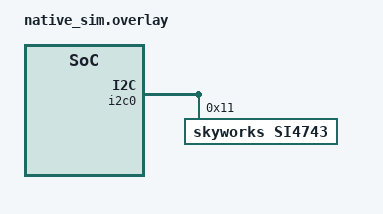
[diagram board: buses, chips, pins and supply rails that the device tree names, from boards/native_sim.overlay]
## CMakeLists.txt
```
cmake_minimum_required(VERSION 3.20.0)

find_package(Zephyr REQUIRED HINTS $ENV{ZEPHYR_BASE})
project(drivers_tuner)

target_sources(app PRIVATE src/main.c src/emul_si4743.c)
```

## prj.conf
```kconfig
CONFIG_ZTEST=y
CONFIG_I2C=y
CONFIG_EMUL=y
CONFIG_WX_DRV_TUNER=y
```

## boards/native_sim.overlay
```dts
/* The tuner on native_sim's emulated I2C bus, SEN low (AN332 6.1: 0x11). */
&i2c0 {
	si4743: si4743@11 {
		compatible = "skyworks,si4743";
		reg = <0x11>;
		status = "okay";
	};
};
```

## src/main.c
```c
/*
 * drivers/tuner_si4743.c against the Si4743 emulator on native_sim's
 * emulated I2C bus: power-up and part check, each band's tune encoding and
 * limits, the seek/tune-complete handshake, seek found and not found,
 * signal status, mute, RDS radio text and every way the chip can fail.
 */

#include <string.h>

#include <zephyr/drivers/i2c.h>
#include <zephyr/ztest.h>

#include "emul_si4743.h"
#include "hal/tuner.h"

static const struct i2c_dt_spec chip = I2C_DT_SPEC_GET(DT_NODELABEL(si4743));

static void before(void *f)
{
	ARG_UNUSED(f);
	emul_si4743_reset();
	(void)hal_tuner_power(false); /* the driver forgets any earlier state */
	zassert_ok(hal_tuner_set_band(HAL_TUNER_BAND_WB));
	zassert_ok(hal_tuner_power(true));
}

ZTEST_SUITE(si4743, NULL, NULL, before, NULL, NULL);

static void assert_last(const uint8_t *want, uint8_t len)
{
	uint8_t n;
	const uint8_t *got = emul_si4743_last(&n);

	zassert_equal(n, len, "command length");
	zassert_mem_equal(got, want, len);
}

/* The status after the tuner has finished the outstanding tune. */
static struct hal_tuner_status settled(void)
{
	struct hal_tuner_status st;

	for (int i = 0; i < 10; i++) {
		zassert_ok(hal_tuner_get_status(&st));
	}
	return st;
}

ZTEST(si4743, test_power_up_in_the_weather_band_and_check_the_part)
{
	zassert_true(emul_si4743_powered());
	zassert_equal(emul_si4743_func(), EMUL_FUNC_WB, "FUNC 3, WB receive");

	emul_si4743_reset();
	emul_si4743_set_part(0x2A); /* an Si4742: no RDS */
	zassert_equal(hal_tuner_power(true), -ENODEV, "not an Si4743");

	emul_si4743_set_part(0x2B);
	zassert_ok(hal_tuner_power(true));
	zassert_ok(hal_tuner_power(false));
	zassert_false(emul_si4743_powered());
}

ZTEST(si4743, test_weather_band_tune_in_2_5_khz_units)
{
	static const uint8_t tune_162550[] = {0x50, 0x00, 0xFD, 0xFC}; /* 65020 */
	struct hal_tuner_status st;

	emul_si4743_add_station(EMUL_FUNC_WB, 65020, 42, 23, false);
	zassert_ok(hal_tuner_tune(162400));
	zassert_equal(emul_si4743_units(), 64960, "162.4 MHz = 64960");
	zassert_ok(hal_tuner_tune(162550));
	assert_last(tune_162550, sizeof(tune_162550));
	zassert_ok(hal_tuner_tune(162550));
	st = settled();
	zassert_true(st.valid);
	zassert_equal(st.freq_khz, 162550);
	zassert_equal(st.rssi_dbuv, 42);
	zassert_equal(st.snr_db, 23);
	zassert_false(st.stereo);
}

ZTEST(si4743, test_tune_returns_before_it_completes)
{
	struct hal_tuner_status st;
	uint8_t n;

	zassert_ok(hal_tuner_tune(162400)); /* the band's first tune also unmutes */
	(void)settled();
	emul_si4743_stc_after(3);
	zassert_ok(hal_tuner_tune(162475));
	zassert_equal(emul_si4743_last(&n)[0], 0x50, "nothing after the tune command");
	zassert_ok(hal_tuner_get_status(&st));
	zassert_equal(st.freq_khz, 162475, "the frequency asked for, meanwhile");
	st = settled();
	zassert_equal(st.freq_khz, 162475, "and the chip's once it completes");
	zassert_ok(hal_tuner_get_status(&st));
	zassert_equal(emul_si4743_last(&n)[0], 0x53, "then only the RSQ status per read");
}

ZTEST(si4743, test_tune_limits_send_nothing)
{
	uint8_t before_len;
	const uint8_t *last = emul_si4743_last(&before_len);
	uint8_t first = last[0];
	uint8_t n;

	zassert_equal(hal_tuner_tune(162375), -EINVAL);
	zassert_equal(hal_tuner_tune(162575), -EINVAL);
	zassert_equal(hal_tuner_tune(162412), -EINVAL, "not on the 2.5 kHz grid");
	zassert_equal(emul_si4743_last(&n)[0], first, "no command sent");

	zassert_ok(hal_tuner_set_band(HAL_TUNER_BAND_FM));
	zassert_equal(hal_tuner_tune(63990), -EINVAL);
	zassert_equal(hal_tuner_tune(108010), -EINVAL);
	zassert_equal(hal_tuner_tune(98705), -EINVAL, "FM is in 10 kHz");
	zassert_ok(hal_tuner_tune(64000));
	zassert_ok(hal_tuner_tune(108000));

	zassert_ok(hal_tuner_set_band(HAL_TUNER_BAND_AM));
	zassert_equal(hal_tuner_tune(519), -EINVAL);
	zassert_equal(hal_tuner_tune(1711), -EINVAL);
	zassert_ok(hal_tuner_tune(520));
	zassert_ok(hal_tuner_tune(1710));
}

ZTEST(si4743, test_band_change_powers_down_then_up)
{
	static const uint8_t tune_98_7[] = {0x20, 0x00, 0x26, 0x8E, 0x00}; /* 9870 */
	static const uint8_t tune_1010[] = {0x40, 0x00, 0x03, 0xF2, 0x00, 0x00};

	zassert_equal(emul_si4743_power_ups(), 1);
	zassert_ok(hal_tuner_set_band(HAL_TUNER_BAND_FM));
	zassert_equal(emul_si4743_power_ups(), 2, "POWER_DOWN, then POWER_UP");
	zassert_equal(emul_si4743_func(), EMUL_FUNC_FM);
	zassert_equal(emul_si4743_property(0x1502), 0xAA01, "RDS on, up to 3-5 bit errors");
	zassert_ok(hal_tuner_tune(64000)); /* the band's first tune also unmutes */
	zassert_ok(hal_tuner_tune(98700));
	assert_last(tune_98_7, sizeof(tune_98_7));

	zassert_ok(hal_tuner_set_band(HAL_TUNER_BAND_AM));
	zassert_equal(emul_si4743_func(), EMUL_FUNC_AM);
	zassert_ok(hal_tuner_tune(520));
	zassert_ok(hal_tuner_tune(1010));
	assert_last(tune_1010, sizeof(tune_1010));
	zassert_ok(hal_tuner_set_band(HAL_TUNER_BAND_AM));
	zassert_equal(emul_si4743_power_ups(), 3, "the same band: no restart");
	zassert_equal(hal_tuner_set_band(7), -EINVAL);
}

ZTEST(si4743, test_mute_until_tuned_and_on_request)
{
	zassert_ok(hal_tuner_set_band(HAL_TUNER_BAND_FM));
	zassert_equal(emul_si4743_property(0x4001), 0x0003, "a new band starts muted");
	zassert_ok(hal_tuner_tune(98700));
	zassert_equal(emul_si4743_property(0x4001), 0x0000, "the first tune unmutes it");
	zassert_ok(hal_tuner_mute(true));
	zassert_equal(emul_si4743_property(0x4001), 0x0003, "LMUTE and RMUTE");
	zassert_ok(hal_tuner_tune(101100));
	zassert_equal(emul_si4743_property(0x4001), 0x0003, "a mute you asked for stays");
	zassert_ok(hal_tuner_mute(false));
	zassert_equal(emul_si4743_property(0x4001), 0x0000);
}

ZTEST(si4743, test_fm_status_and_stereo_pilot)
{
	struct hal_tuner_status st;

	emul_si4743_add_station(EMUL_FUNC_FM, 9870, 55, 31, true);
	emul_si4743_set_noise(8, 1);
	zassert_ok(hal_tuner_set_band(HAL_TUNER_BAND_FM));
	zassert_ok(hal_tuner_tune(98700));
	st = settled();
	zassert_equal(st.rssi_dbuv, 55);
	zassert_equal(st.snr_db, 31);
	zassert_true(st.stereo, "PILOT");
	zassert_ok(hal_tuner_tune(98900));
	st = settled();
	zassert_equal(st.rssi_dbuv, 8);
	zassert_false(st.stereo);
}

ZTEST(si4743, test_seek_finds_wraps_and_gives_up)
{
	uint32_t found = 0;

	emul_si4743_add_station(EMUL_FUNC_FM, 9010, 40, 20, false);
	emul_si4743_add_station(EMUL_FUNC_FM, 10190, 40, 20, false);
	zassert_ok(hal_tuner_set_band(HAL_TUNER_BAND_FM));
	zassert_ok(hal_tuner_tune(98700));
	(void)settled();
	emul_si4743_stc_after(5);
	zassert_ok(hal_tuner_seek(true, &found));
	zassert_equal(found, 101900);
	zassert_ok(hal_tuner_seek(true, &found));
	zassert_equal(found, 90100, "past the top, it wraps");
	zassert_ok(hal_tuner_seek(false, &found));
	zassert_equal(found, 101900, "down, wrapping past the bottom");

	zassert_ok(hal_tuner_set_band(HAL_TUNER_BAND_AM));
	zassert_ok(hal_tuner_tune(1010));
	found = 0;
	zassert_equal(hal_tuner_seek(true, &found), -ENOENT, "no AM station anywhere");
	zassert_equal(found, 0);
	zassert_equal(emul_si4743_units(), 1010, "back where it started");

	zassert_ok(hal_tuner_set_band(HAL_TUNER_BAND_WB));
	zassert_equal(hal_tuner_seek(true, &found), -ENOTSUP, "the WB receiver has no seek");
}

/* RDS group 2A or 2B (IEC 62106): block B = type 2, version, A/B flag, segment. */
static void rt_2a(uint8_t ab, uint8_t seg, const char *four)
{
	emul_si4743_push_rds(0x1234, (uint16_t)(0x2000 | ab << 4 | seg),
			     (uint16_t)(four[0] << 8 | four[1]), (uint16_t)(four[2] << 8 | four[3]),
			     0);
}

ZTEST(si4743, test_rds_radio_text)
{
	char buf[65];

	zassert_ok(hal_tuner_set_band(HAL_TUNER_BAND_FM));
	zassert_ok(hal_tuner_tune(98700));
	zassert_equal(hal_tuner_rds_text(buf, sizeof(buf)), 0, "nothing yet");

	rt_2a(0, 0, "WXYZ");
	rt_2a(0, 1, "-FM ");
	rt_2a(0, 2, "ROCK");
	rt_2a(0, 3, "\r   ");
	zassert_equal(hal_tuner_rds_text(buf, sizeof(buf)), 12);
	zassert_str_equal(buf, "WXYZ-FM ROCK", "up to the carriage return");

	rt_2a(1, 0, "NEWS");
	zassert_ok(hal_tuner_rds_text(buf, sizeof(buf)) < 0);
	zassert_str_equal(buf, "NEWS", "the A/B flag flipped: a new text");

	rt_2a(1, 2, "LATE");
	zassert_equal(hal_tuner_rds_text(buf, sizeof(buf)), 4, "stops at the missing segment 1");

	/* A group the chip judged too damaged (BLE 3 on block C) never arrives. */
	emul_si4743_push_rds(0x1234, 0x2011, 0x4040, 0x4040, 0x0C);
	zassert_equal(hal_tuner_rds_text(buf, sizeof(buf)), 4);

	/* Version B: two characters a segment, in block D. */
	emul_si4743_push_rds(0x1234, 0x2800, 0, 'H' << 8 | 'I', 0);
	emul_si4743_push_rds(0x1234, 0x2801, 0, '!' << 8 | '\r', 0);
	zassert_equal(hal_tuner_rds_text(buf, sizeof(buf)), 3);
	zassert_str_equal(buf, "HI!");

	zassert_equal(hal_tuner_rds_text(buf, 3), 2, "cut to the buffer");
	zassert_str_equal(buf, "HI");

	zassert_ok(hal_tuner_tune(101100));
	zassert_equal(hal_tuner_rds_text(buf, sizeof(buf)), 0, "a new station, no text");

	zassert_ok(hal_tuner_set_band(HAL_TUNER_BAND_WB));
	zassert_equal(hal_tuner_rds_text(buf, sizeof(buf)), 0, "no RDS off FM");
}

ZTEST(si4743, test_a_64_character_text)
{
	char buf[65];
	static const char text[] = "0123456789ABCDEF0123456789ABCDEF0123456789ABCDEF0123456789ABCDE.";

	zassert_ok(hal_tuner_set_band(HAL_TUNER_BAND_FM));
	zassert_ok(hal_tuner_tune(98700));
	for (uint8_t seg = 0; seg < 16; seg++) {
		rt_2a(0, seg, &text[seg * 4]);
	}
	zassert_equal(hal_tuner_rds_text(buf, sizeof(buf)), 64);
	zassert_str_equal(buf, text);
}

ZTEST(si4743, test_failures_are_eio)
{
	struct hal_tuner_status st;
	int64_t t;

	/* The bus fails. */
	emul_si4743_fail(true);
	zassert_equal(hal_tuner_get_status(&st), -EIO);
	zassert_equal(hal_tuner_tune(162550), -EIO);
	emul_si4743_fail(false);

	/* CTS comes late: polled for, fine. Never: a bounded -EIO. */
	emul_si4743_cts_after(3);
	zassert_ok(hal_tuner_get_status(&st));
	emul_si4743_cts_after(-1);
	t = k_uptime_get();
	zassert_equal(hal_tuner_get_status(&st), -EIO);
	zassert_true(k_uptime_get() - t < 50, "gives up within milliseconds");
	emul_si4743_cts_after(0);

	/* ERR: the chip is in another function than the driver thinks. */
	{
		static const uint8_t down[] = {0x11};
		static const uint8_t up_am[] = {0x01, 0x01, 0x05};

		zassert_ok(i2c_write_dt(&chip, down, sizeof(down)));
		zassert_ok(i2c_write_dt(&chip, up_am, sizeof(up_am)));
		zassert_equal(hal_tuner_get_status(&st), -EIO, "WB_RSQ_STATUS in AM: ERR");
	}

	/* The chip lost power: it answers nothing but POWER_UP. */
	emul_si4743_reset();
	zassert_equal(hal_tuner_get_status(&st), -EIO);
	zassert_ok(hal_tuner_power(true), "and power-up brings it back");
	zassert_ok(hal_tuner_get_status(&st));
}

ZTEST(si4743, test_nothing_works_powered_down)
{
	struct hal_tuner_status st;
	char buf[8];
	uint32_t f;

	zassert_ok(hal_tuner_power(false));
	zassert_equal(hal_tuner_tune(162550), -EIO);
	zassert_equal(hal_tuner_get_status(&st), -EIO);
	zassert_equal(hal_tuner_seek(true, &f), -EIO);
	zassert_equal(hal_tuner_rds_text(buf, sizeof(buf)), -EIO);
	zassert_ok(hal_tuner_mute(true), "remembered for the next power-up");
}
```

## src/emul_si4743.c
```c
/*
 * Si4743 emulator. Section references are to AN332 Rev. 1.2.
 */

#define DT_DRV_COMPAT skyworks_si4743

#include <errno.h>
#include <string.h>

#include <zephyr/device.h>
#include <zephyr/drivers/emul.h>
#include <zephyr/drivers/i2c.h>
#include <zephyr/drivers/i2c_emul.h>

#include "emul_si4743.h"

#define CTS    0x80U
#define ERR    0x40U
#define STCINT 0x01U

#define MAX_STATIONS 16
#define MAX_PROPS    32
#define RDS_FIFO     25 /* groups, FMRX component 2.0 or later */

struct station {
	uint8_t func;
	uint16_t units;
	uint8_t rssi;
	uint8_t snr;
	bool pilot;
};

static struct {
	bool powered;
	uint8_t func;
	uint8_t pn;
	uint16_t units;
	bool stc;
	int stc_polls; /* GET_INT_STATUS polls left before STCINT shows */
	int stc_after;
	bool bltf;
	int cts_reads; /* status reads left before CTS (-1: never) */
	int cts_after;
	bool responding; /* false after a command the chip ignores */
	uint8_t status;
	uint8_t resp[15];
	struct station stations[MAX_STATIONS];
	int n_stations;
	uint8_t noise_rssi;
	uint8_t noise_snr;
	struct {
		uint16_t id;
		uint16_t value;
	} props[MAX_PROPS];
	int n_props;
	uint16_t rds[RDS_FIFO][4];
	uint8_t rds_ble[RDS_FIFO];
	int rds_n;
	bool failing;
	uint32_t power_ups;
	uint8_t last[8];
	uint8_t last_len;
} e;

void emul_si4743_reset(void)
{
	memset(&e, 0, sizeof(e));
	e.pn = 0x2B;
	e.noise_rssi = 5;
	e.noise_snr = 0;
	e.responding = true;
}

void emul_si4743_set_part(uint8_t pn)
{
	e.pn = pn;
}

void emul_si4743_add_station(uint8_t func, uint16_t units, uint8_t rssi, uint8_t snr, bool pilot)
{
	if (e.n_stations < MAX_STATIONS) {
		e.stations[e.n_stations++] = (struct station){func, units, rssi, snr, pilot};
	}
}

void emul_si4743_set_noise(uint8_t rssi, uint8_t snr)
{
	e.noise_rssi = rssi;
	e.noise_snr = snr;
}

void emul_si4743_stc_after(int polls)
{
	e.stc_after = polls;
}

void emul_si4743_cts_after(int reads)
{
	e.cts_after = reads;
}

void emul_si4743_fail(bool fail)
{
	e.failing = fail;
}

bool emul_si4743_powered(void)
{
	return e.powered;
}

uint8_t emul_si4743_func(void)
{
	return e.func;
}

uint16_t emul_si4743_units(void)
{
	return e.units;
}

uint32_t emul_si4743_power_ups(void)
{
	return e.power_ups;
}

const uint8_t *emul_si4743_last(uint8_t *len)
{
	*len = e.last_len;
	return e.last;
}

uint16_t emul_si4743_property(uint16_t id)
{
	for (int i = 0; i < e.n_props; i++) {
		if (e.props[i].id == id) {
			return e.props[i].value;
		}
	}
	return 0; /* the defaults these tests care about are 0 */
}

static void set_property(uint16_t id, uint16_t value)
{
	for (int i = 0; i < e.n_props; i++) {
		if (e.props[i].id == id) {
			e.props[i].value = value;
			return;
		}
	}
	if (e.n_props < MAX_PROPS) {
		e.props[e.n_props].id = id;
		e.props[e.n_props].value = value;
		e.n_props++;
	}
}

/* FM_RDS_CONFIG (0x1502): RDSEN, and block error thresholds BLETHA-D in bits 15:8. */
void emul_si4743_push_rds(uint16_t a, uint16_t b, uint16_t c, uint16_t d, uint8_t ble)
{
	uint16_t cfg = emul_si4743_property(0x1502);

	if ((cfg & 1U) == 0U || e.rds_n >= RDS_FIFO) {
		return;
	}
	for (int blk = 0; blk < 4; blk++) {
		uint8_t level = (uint8_t)((ble >> (6 - 2 * blk)) & 3U);
		uint8_t limit = (uint8_t)((cfg >> (14 - 2 * blk)) & 3U);

		if (level > limit) {
			return; /* the chip keeps only groups within the thresholds */
		}
	}
	e.rds[e.rds_n][0] = a;
	e.rds[e.rds_n][1] = b;
	e.rds[e.rds_n][2] = c;
	e.rds[e.rds_n][3] = d;
	e.rds_ble[e.rds_n] = ble;
	e.rds_n++;
}

/* ---- The receiver ---- */

static const struct station *station_at(uint16_t units)
{
	for (int i = 0; i < e.n_stations; i++) {
		if (e.stations[i].func == e.func && e.stations[i].units == units) {
			return &e.stations[i];
		}
	}
	return NULL;
}

static void put16(uint8_t *p, uint16_t v)
{
	p[0] = (uint8_t)(v >> 8);
	p[1] = (uint8_t)v;
}

static void tuned(uint16_t units)
{
	e.units = units;
	e.stc = false;
	e.stc_polls = e.stc_after;
	e.rds_n = 0; /* the FIFO is cleared by a tune or seek */
}

/* Seek with wrap over the default seek band: FM 87.5-107.9 MHz in 100 kHz,
 * AM 520-1710 kHz in 10 kHz (properties 0x1400-0x1402, 0x3400-0x3402). */
static void seek(bool up)
{
	uint16_t lo = e.func == EMUL_FUNC_FM ? 8750 : 520;
	uint16_t hi = e.func == EMUL_FUNC_FM ? 10790 : 1710;
	uint16_t step = 10;
	uint16_t start = e.units;
	uint16_t f = start;

	for (int i = 0; i <= (hi - lo) / step + 1; i++) {
		if (up) {
			f = f + step > hi ? lo : f + step;
		} else {
			f = f < lo + step ? hi : f - step;
		}
		if (f == start) {
			break;
		}
		if (station_at(f) != NULL) {
			tuned(f);
			e.bltf = false;
			return;
		}
	}
	tuned(start);
	e.bltf = true; /* wrapped back to the original frequency */
}

static bool family_ok(uint8_t cmd)
{
	uint8_t family = cmd & 0xF0U;

	return (family == 0x20U && e.func == EMUL_FUNC_FM) ||
	       (family == 0x40U && e.func == EMUL_FUNC_AM) ||
	       (family == 0x50U && e.func == EMUL_FUNC_WB);
}

static void execute(const uint8_t *c, size_t len)
{
	const struct station *st;
	uint8_t cmd = c[0];
	uint16_t f;

	memset(e.resp, 0, sizeof(e.resp));
	e.status = 0;
	e.responding = true;
	e.cts_reads = e.cts_after;

	if (!e.powered && cmd != 0x01U) {
		e.responding = false; /* "the device does not respond" (POWER_DOWN, 5.2.1) */
		return;
	}
	if ((cmd & 0xF0U) >= 0x20U && (cmd & 0xF0U) <= 0x50U && !family_ok(cmd)) {
		e.status = ERR;
		return;
	}
	switch (cmd) {
	case 0x01: /* POWER_UP: FUNC 0/1/3, XOSCEN 0 on Si474x, OPMODE analog */
		if (len != 3U || (c[1] & 0x10U) != 0U || c[2] != 0x05U ||
		    ((c[1] & 0x0FU) != EMUL_FUNC_FM && (c[1] & 0x0FU) != EMUL_FUNC_AM &&
		     (c[1] & 0x0FU) != EMUL_FUNC_WB)) {
			e.status = ERR;
			return;
		}
		e.powered = true;
		e.func = c[1] & 0x0FU;
		e.units = 0;
		e.stc = false;
		e.rds_n = 0;
		e.n_props = 0; /* properties return to their defaults */
		e.power_ups++;
		return;
	case 0x10: /* GET_REV */
		e.resp[0] = e.pn;
		e.resp[1] = '2';
		e.resp[2] = '0';
		e.resp[7] = 'C';
		return;
	case 0x11: /* POWER_DOWN */
		e.powered = false;
		return;
	case 0x12: /* SET_PROPERTY: ARG1 0, PROP, VALUE */
		if (len != 6U || c[1] != 0U) {
			e.status = ERR;
			return;
		}
		set_property((uint16_t)(c[2] << 8 | c[3]), (uint16_t)(c[4] << 8 | c[5]));
		return;
	case 0x14: /* GET_INT_STATUS */
		if (!e.stc && e.stc_polls-- <= 0) {
			e.stc = true;
		}
		e.status = e.stc ? STCINT : 0U;
		return;
	case 0x20: /* FM_TUNE_FREQ: 6400-10800 */
	case 0x40: /* AM_TUNE_FREQ: 149-23000 */
	case 0x50: /* WB_TUNE_FREQ: 64960-65020 */
		f = (uint16_t)(c[2] << 8 | c[3]);
		if ((cmd == 0x20 && (len != 5U || f < 6400 || f > 10800)) ||
		    (cmd == 0x40 && (len != 6U || f < 149 || f > 23000)) ||
		    (cmd == 0x50 && (len != 4U || f < 64960 || f > 65020))) {
			e.status = ERR;
			return;
		}
		tuned(f);
		e.bltf = false;
		return;
	case 0x21: /* FM_SEEK_START */
	case 0x41: /* AM_SEEK_START */
		if ((cmd == 0x21 && len != 2U) || (cmd == 0x41 && len != 6U) ||
		    (c[1] & 0x04U) == 0U) {
			e.status = ERR; /* this emulator only seeks with WRAP */
			return;
		}
		seek((c[1] & 0x08U) != 0U);
		return;
	case 0x22: /* FM_TUNE_STATUS */
	case 0x42: /* AM_TUNE_STATUS */
	case 0x52: /* WB_TUNE_STATUS */
		st = station_at(e.units);
		e.resp[0] = (uint8_t)((e.bltf ? 0x80U : 0U) | (st != NULL ? 0x01U : 0U));
		put16(&e.resp[1], e.units);
		e.resp[3] = st != NULL ? st->rssi : e.noise_rssi;
		e.resp[4] = st != NULL ? st->snr : e.noise_snr;
		if ((c[1] & 0x01U) != 0U) {
			e.stc = false; /* INTACK */
		}
		e.status = e.stc ? STCINT : 0U;
		return;
	case 0x23: /* FM_RSQ_STATUS */
	case 0x43: /* AM_RSQ_STATUS */
	case 0x53: /* WB_RSQ_STATUS */
		st = station_at(e.units);
		e.resp[1] = st != NULL ? 0x01U : 0U; /* VALID */
		e.resp[2] = (cmd == 0x23 && st != NULL && st->pilot) ? 0x80U | 100U : 0U;
		e.resp[3] = st != NULL ? st->rssi : e.noise_rssi;
		e.resp[4] = st != NULL ? st->snr : e.noise_snr;
		e.status = e.stc ? STCINT : 0U;
		return;
	case 0x24: /* FM_RDS_STATUS: RESP3 RDSFIFOUSED, RESP4-11 blocks A-D, RESP12 BLE */
		e.resp[2] = (uint8_t)e.rds_n;
		if (e.rds_n > 0) {
			for (int i = 0; i < 4; i++) {
				put16(&e.resp[3 + 2 * i], e.rds[0][i]);
			}
			e.resp[11] = e.rds_ble[0];
			e.rds_n--;
			memmove(e.rds[0], e.rds[1], sizeof(e.rds[0]) * (size_t)e.rds_n);
			memmove(&e.rds_ble[0], &e.rds_ble[1], (size_t)e.rds_n);
		}
		return;
	default:
		e.status = ERR;
		return;
	}
}

static int transfer(const struct emul *target, struct i2c_msg *msgs, int num_msgs, int addr)
{
	ARG_UNUSED(target);
	ARG_UNUSED(addr);
	if (e.failing || num_msgs != 1) {
		return -EIO;
	}
	if ((msgs[0].flags & I2C_MSG_READ) == 0U) {
		/* Section 6.1: at most 8 bytes, a command and seven arguments. */
		if (msgs[0].len < 1U || msgs[0].len > 8U) {
			return -EIO;
		}
		memcpy(e.last, msgs[0].buf, msgs[0].len);
		e.last_len = (uint8_t)msgs[0].len;
		execute(msgs[0].buf, msgs[0].len);
		return 0;
	}
	/* A read: the status byte, then up to 15 response bytes. */
	if (msgs[0].len < 1U || msgs[0].len > 16U) {
		return -EIO;
	}
	memset(msgs[0].buf, 0, msgs[0].len);
	if (!e.responding) {
		return 0; /* no CTS, ever */
	}
	if (e.cts_reads != 0) {
		if (e.cts_reads > 0) {
			e.cts_reads--;
		}
		return 0;
	}
	msgs[0].buf[0] = (uint8_t)(CTS | e.status);
	memcpy(&msgs[0].buf[1], e.resp, msgs[0].len - 1U);
	return 0;
}

static const struct i2c_emul_api api = {.transfer = transfer};

static int emul_init(const struct emul *target, const struct device *parent)
{
	ARG_UNUSED(target);
	ARG_UNUSED(parent);
	emul_si4743_reset();
	return 0;
}

EMUL_DT_INST_DEFINE(0, emul_init, NULL, NULL, &api, NULL);

/* The I2C emulator binds to a device on the node; the HAL driver has none,
 * so the test supplies an empty one. */
DEVICE_DT_INST_DEFINE(0, NULL, NULL, NULL, NULL, POST_KERNEL, 90, NULL);
```

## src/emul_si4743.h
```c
/*
 * Si4743 emulator for tests, built from AN332 Rev. 1.2 (sections 4, 5.2
 * to 5.4 and 6.1): commands are one I2C write, replies a read of the
 * status byte and response bytes, CTS when the command is done, ERR on a
 * bad command or argument, and nothing at all (no CTS) for any command
 * but POWER_UP while powered down.
 *
 * Frequencies are in each band's own units: FM 10 kHz, AM 1 kHz, WB 2.5 kHz.
 */

#ifndef EMUL_SI4743_H_
#define EMUL_SI4743_H_

#include <stdbool.h>
#include <stdint.h>

#define EMUL_FUNC_FM 0
#define EMUL_FUNC_AM 1
#define EMUL_FUNC_WB 3

/** Powered down, no stations, no RDS, part number 0x2B, everything immediate. */
void emul_si4743_reset(void);

void emul_si4743_set_part(uint8_t pn);
/** A station that a seek finds and RSQ reports. */
void emul_si4743_add_station(uint8_t func, uint16_t units, uint8_t rssi, uint8_t snr, bool pilot);
/** RSSI and SNR away from any station. */
void emul_si4743_set_noise(uint8_t rssi, uint8_t snr);
/** GET_INT_STATUS reports STCINT only after this many polls (0: at once). */
void emul_si4743_stc_after(int polls);
/** The next command's CTS comes after this many status reads (-1: never). */
void emul_si4743_cts_after(int reads);
/** Every I2C transfer fails. */
void emul_si4743_fail(bool fail);
/** An RDS group into the FIFO (BLE: corrected-error levels, RESP12 layout). */
void emul_si4743_push_rds(uint16_t a, uint16_t b, uint16_t c, uint16_t d, uint8_t ble);

bool emul_si4743_powered(void);
uint8_t emul_si4743_func(void);
uint16_t emul_si4743_units(void);
uint16_t emul_si4743_property(uint16_t id);
uint32_t emul_si4743_power_ups(void);
/** The last command written, and its length. */
const uint8_t *emul_si4743_last(uint8_t *len);

#endif /* EMUL_SI4743_H_ */
```
